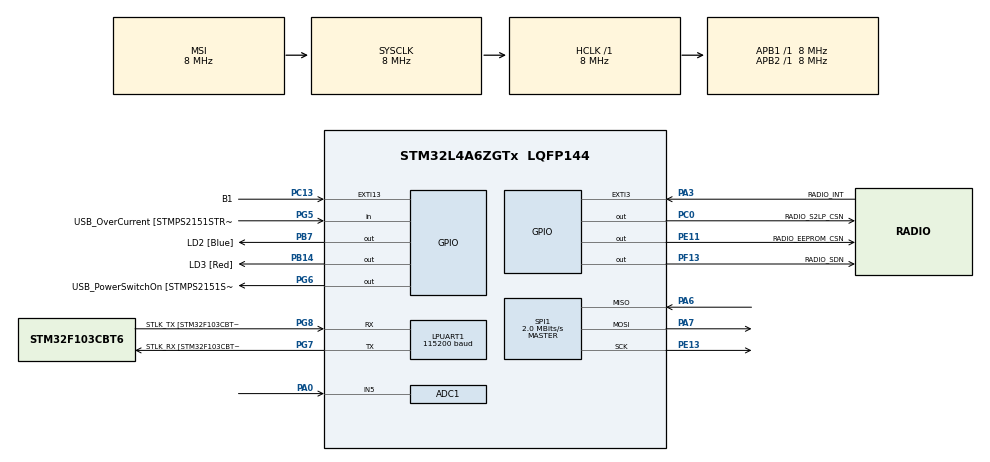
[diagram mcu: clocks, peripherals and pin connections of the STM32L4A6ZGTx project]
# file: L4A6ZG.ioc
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ADC1.Channel-0\#ChannelRegularConversion=ADC_CHANNEL_5
ADC1.ClockPrescaler=ADC_CLOCK_ASYNC_DIV10
ADC1.DMAContinuousRequests=ENABLE
ADC1.EnableAnalogWatchDog1=false
ADC1.ExternalTrigConv=ADC_EXTERNALTRIG_T3_TRGO
ADC1.NbrOfConversionFlag=1
ADC1.OffsetNumber-0\#ChannelRegularConversion=ADC_OFFSET_NONE
ADC1.Rank-0\#ChannelRegularConversion=1
ADC1.SamplingTime-0\#ChannelRegularConversion=ADC_SAMPLETIME_2CYCLES_5
ADC1.master=1
Dma.ADC1.0.Direction=DMA_PERIPH_TO_MEMORY
Dma.ADC1.0.Instance=DMA1_Channel1
Dma.ADC1.0.MemDataAlignment=DMA_MDATAALIGN_HALFWORD
Dma.ADC1.0.MemInc=DMA_MINC_ENABLE
Dma.ADC1.0.Mode=DMA_CIRCULAR
Dma.ADC1.0.PeriphDataAlignment=DMA_PDATAALIGN_HALFWORD
Dma.ADC1.0.PeriphInc=DMA_PINC_DISABLE
Dma.ADC1.0.Priority=DMA_PRIORITY_LOW
Dma.Request0=ADC1
LPUART1.AutoBaudRateEnableParam=UART_ADVFEATURE_AUTOBAUDRATE_DISABLE
LPUART1.BaudRate=115200
LPUART1.DMADisableonRxErrorParam=UART_ADVFEATURE_DMA_ENABLEONRXERROR
LPUART1.DataInvertParam=UART_ADVFEATURE_DATAINV_DISABLE
LPUART1.MSBFirstParam=UART_ADVFEATURE_MSBFIRST_DISABLE
LPUART1.Mode=UART_MODE_TX_RX
LPUART1.OneBitSampling=UART_ONE_BIT_SAMPLE_DISABLE
LPUART1.OverrunDisableParam=UART_ADVFEATURE_OVERRUN_ENABLE
LPUART1.Parity=UART_PARITY_NONE
LPUART1.RxPinLevelInvertParam=UART_ADVFEATURE_RXINV_DISABLE
LPUART1.StopBits=UART_STOPBITS_1
LPUART1.SwapParam=UART_ADVFEATURE_SWAP_DISABLE
LPUART1.TxPinLevelInvertParam=UART_ADVFEATURE_TXINV_DISABLE
LPUART1.WordLength=UART_WORDLENGTH_8B
Mcu.Family=STM32L4
Mcu.Name=STM32L4A6ZGTx
Mcu.Package=LQFP144
NVIC.DMA1_Channel1_IRQn=true\:1\:0\:true\:false\:true\:false\:true
NVIC.EXTI15_10_IRQn=true\:0\:0\:false\:false\:true\:true\:true
NVIC.EXTI3_IRQn=true\:0\:0\:false\:false\:true\:true\:true
NVIC.PriorityGroup=NVIC_PRIORITYGROUP_4
NVIC.TIM3_IRQn=true\:0\:0\:true\:false\:true\:true\:true
PA0.Signal=ADCx_IN5
PA10.GPIO_Label=USB_ID
PA10.Signal=USB_OTG_FS_ID
PA11.GPIO_Label=USB_DM
PA11.Signal=USB_OTG_FS_DM
PA12.GPIO_Label=USB_DP
PA12.Signal=USB_OTG_FS_DP
PA13\ (JTMS/SWDIO).GPIO_Label=TMS
PA13\ (JTMS/SWDIO).Mode=Trace_Asynchronous_SW
PA13\ (JTMS/SWDIO).Signal=SYS_JTMS-SWDIO
PA14\ (JTCK/SWCLK).GPIO_Label=TCK
PA14\ (JTCK/SWCLK).Mode=Trace_Asynchronous_SW
PA14\ (JTCK/SWCLK).Signal=SYS_JTCK-SWCLK
PA3.GPIO_Label=RADIO_INT
PA3.GPIO_ModeDefaultEXTI=GPIO_MODE_IT_FALLING
PA3.Signal=GPXTI3
PA6.Mode=Full_Duplex_Master
PA6.Signal=SPI1_MISO
PA7.Mode=Full_Duplex_Master
PA7.Signal=SPI1_MOSI
PA8.GPIO_Label=USB_SOF [TP1]
PA8.Signal=USB_OTG_FS_SOF
PA9.GPIO_Label=USB_VBUS
PA9.Signal=USB_OTG_FS_VBUS
PB14.GPIO_Label=LD3 [Red]
PB14.Signal=GPIO_Output
PB3\ (JTDO/TRACESWO).GPIO_Label=SWO
PB3\ (JTDO/TRACESWO).Mode=Trace_Asynchronous_SW
PB3\ (JTDO/TRACESWO).Signal=SYS_JTDO-SWO
PB7.GPIO_Label=LD2 [Blue]
PB7.Signal=GPIO_Output
PC0.GPIO_Label=RADIO_S2LP_CSN
PC0.GPIO_Speed=GPIO_SPEED_FREQ_VERY_HIGH
PC0.PinState=GPIO_PIN_SET
PC0.Signal=GPIO_Output
PC13.GPIO_Label=B1
PC13.GPIO_ModeDefaultEXTI=GPIO_MODE_IT_RISING
PC13.Signal=GPXTI13
PC14-OSC32_IN\ (PC14).Mode=LSE-External-Oscillator
PC14-OSC32_IN\ (PC14).Signal=RCC_OSC32_IN
PC15-OSC32_OUT\ (PC15).Mode=LSE-External-Oscillator
PC15-OSC32_OUT\ (PC15).Signal=RCC_OSC32_OUT
PE11.GPIO_Label=RADIO_EEPROM_CSN
PE11.PinState=GPIO_PIN_SET
PE11.Signal=GPIO_Output
PE13.Mode=Full_Duplex_Master
PE13.Signal=SPI1_SCK
PF13.GPIO_Label=RADIO_SDN
PF13.PinState=GPIO_PIN_SET
PF13.Signal=GPIO_Output
PG5.GPIO_Label=USB_OverCurrent [STMPS2151STR_FAULT]
PG5.Signal=GPIO_Input
PG6.GPIO_Label=USB_PowerSwitchOn [STMPS2151STR_EN]
PG6.Signal=GPIO_Output
PG7.GPIO_Label=STLK_RX [STM32F103CBT6_PA3]
PG7.Mode=Asynchronous
PG7.Signal=LPUART1_TX
PG8.GPIO_Label=STLK_TX [STM32F103CBT6_PA2]
PG8.Mode=Asynchronous
PG8.Signal=LPUART1_RX
PH1-OSC_OUT\ (PH1).Signal=RCC_OSC_OUT
ProjectManager.HeapSize=0x200
ProjectManager.StackSize=0x400
ProjectManager.TargetToolchain=STM32CubeIDE
RCC.ADCCLockSelection=RCC_ADCCLKSOURCE_SYSCLK
RCC.ADCFreq_Value=8000000
RCC.AHBFreq_Value=8000000
RCC.APB1Freq_Value=8000000
RCC.APB1TimFreq_Value=8000000
RCC.APB2Freq_Value=8000000
RCC.APB2TimFreq_Value=8000000
RCC.CortexFreq_Value=8000000
RCC.FLatency=FLASH_LATENCY_0
RCC.HCLKFreq_Value=8000000
RCC.HSE_VALUE=8000000
RCC.HSI48_VALUE=48000000
RCC.HSI_VALUE=16000000
RCC.LPUART1CLockSelection=RCC_LPUART1CLKSOURCE_SYSCLK
RCC.MSIClockRange=RCC_MSIRANGE_7
RCC.MSI_VALUE=8000000
RCC.PLLN=24
RCC.PLLSAI1N=24
RCC.SYSCLKFreq_VALUE=8000000
RCC.USBFreq_Value=96000000
RCC.VCOOutputFreq_Value=192000000
SH.ADCx_IN5.0=ADC1_IN5,IN5-Single-Ended
SPI1.BaudRatePrescaler=SPI_BAUDRATEPRESCALER_4
SPI1.CalculateBaudRate=2.0 MBits/s
SPI1.DataSize=SPI_DATASIZE_8BIT
SPI1.Direction=SPI_DIRECTION_2LINES
SPI1.Mode=SPI_MODE_MASTER
SPI1.VirtualType=VM_MASTER
TIM3.Period=31
TIM3.Prescaler=23
TIM3.TIM_MasterOutputTrigger=TIM_TRGO_UPDATE
VP_AES_VS_AES.Mode=AES_Activate
VP_TIM3_VS_ClockSourceINT.Mode=Internal
board=NUCLEO-L4A6ZG

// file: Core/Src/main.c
/* USER CODE BEGIN Header */
/**
/**
  ****************************************************************************
  * @file           : main.c
  * @brief          : Main program body
  ****************************************************************************
  * @attention
  *
  * <h2><center>&copy; Copyright (c) 2021 STMicroelectronics.
  * All rights reserved.</center></h2>
  *
  * This software component is licensed by ST under BSD 3-Clause license,
  * the "License"; You may not use this file except in compliance with the
  * License. You may obtain a copy of the License at:
  *                        opensource.org/licenses/BSD-3-Clause
  *
  ****************************************************************************
  */
/* USER CODE END Header */
#include "main.h"
#include "adc.h"
#include "aes.h"
#include "dma.h"
#include "spi.h"
#include "tim.h"
#include "gpio.h"

/* USER CODE BEGIN Includes */
#include <stdio.h>
#include <string.h>
#include "arm_math.h"
#include "adc_dblbuf.h"
#include "retarget.h"
#include "s2lp.h"
#include "spectrogram.h"
#include "eval_radio.h"
#include "packet.h"
#include "config.h"
#include "utils.h"
#include "usart.h"

/* USER CODE END Includes */

/* USER CODE BEGIN PV */

volatile uint8_t btn_press;
//volatile uint8_t have_to_record = 0;
/* USER CODE END PV */

void SystemClock_Config(void);

/* USER CODE BEGIN 0 */

void HAL_GPIO_EXTI_Callback(uint16_t GPIO_Pin)
{
	if (GPIO_Pin == B1_Pin) {
		btn_press = 1;
	}
	else if (GPIO_Pin == RADIO_INT_Pin)
		S2LP_IRQ_Handler();
}

/*
void HAL_ADC_LevelOutOfWindowCallback(ADC_HandleTypeDef*hadc){ //dès que signal sort threshold
	have_to_record = 1;
}
*/
static void acquire_and_send_packet() {
	if (StartADCAcq(N_MELVECS) != HAL_OK) {
		DEBUG_PRINT("Error while enabling the DMA\r\n");
	}
	while (!IsADCFinished()) {
		__WFI(); //WFE
	}
}

void run(void)
{
	btn_press = 0;

	while (1)
	{

	  while (!btn_press) {
		  /*
		  HAL_GPIO_WritePin(GPIOB, LD2_Pin, GPIO_PIN_SET);
		  HAL_Delay(200);
		  HAL_GPIO_WritePin(GPIOB, LD2_Pin, GPIO_PIN_RESET);
		  HAL_Delay(200);
		  */
		  __WFI();
	  }

	  btn_press = 0;
#if (CONTINUOUS_ACQ == 1)
	  while (!btn_press) {
		  acquire_and_send_packet();
		  //have_to_record = 0; //des que fini alors se réinitiise
	  }
	  btn_press = 0;
#elif (CONTINUOUS_ACQ == 0)
	  acquire_and_send_packet();
#else
#error "Wrong value for CONTINUOUS_ACQ."
#endif
	}
}

/* USER CODE END 0 */

int main(void)
{

  /* MCU Configuration--------------------------------------------------------*/

  /* Reset of all peripherals, Initializes the Flash interface and the Systick. */
  HAL_Init();

  /* Configure the system clock */
  SystemClock_Config();

  /* Initialize all configured peripherals */
  MX_GPIO_Init();
  MX_DMA_Init();
  MX_SPI1_Init();
  MX_TIM3_Init();
  MX_ADC1_Init();
  MX_AES_Init();
  /* USER CODE BEGIN 2 */
  if (ENABLE_UART) {
	  MX_LPUART1_UART_Init();
  }

  RetargetInit(&hlpuart1);
  DEBUG_PRINT("Hello world\r\n");

#if ENABLE_RADIO
  // Enable S2LP Radio
  HAL_StatusTypeDef err = S2LP_Init(&hspi1);
  if (err)  {
	  DEBUG_PRINT("[S2LP] Error while initializing: %u\r\n", err);
	  Error_Handler();
  } else {
	  DEBUG_PRINT("[S2LP] Init OK\r\n");
  }
#endif

  if (HAL_ADCEx_Calibration_Start(&hadc1, ADC_SINGLE_ENDED) != HAL_OK) {
	  DEBUG_PRINT("Error while calibrating the ADC\r\n");
	  Error_Handler();
  }
  if (HAL_TIM_Base_Start(&htim3) != HAL_OK) {
	  DEBUG_PRINT("Error while enabling timer TIM3\r\n");
	  Error_Handler();
  }
  /* USER CODE END 2 */

  /* Infinite loop */
  /* USER CODE BEGIN WHILE */
S2LP_Sleep();                                     //iciiiiiiiiiiiiiiiiiiiiiiiiiiiiiiiiiiiiiiiiiiiiiiiiiiiiiiiiiiiiiiiiiiiiiiiiiiiiiiiiiiiiiiii
#if (RUN_CONFIG == MAIN_APP)
  run();
#elif (RUN_CONFIG == EVAL_RADIO)
  eval_radio();
#else
#error "Wrong value for RUN_CONFIG."
#endif

    /* USER CODE END WHILE */

}

void SystemClock_Config(void)
{
  RCC_OscInitTypeDef RCC_OscInitStruct = {0};
  RCC_ClkInitTypeDef RCC_ClkInitStruct = {0};

  /** Configure the main internal regulator output voltage
  */
  if (HAL_PWREx_ControlVoltageScaling(PWR_REGULATOR_VOLTAGE_SCALE1) != HAL_OK)
  {
    Error_Handler();
  }
  /** Initializes the RCC Oscillators according to the specified parameters
  * in the RCC_OscInitTypeDef structure.
  */
  RCC_OscInitStruct.OscillatorType = RCC_OSCILLATORTYPE_MSI;
  RCC_OscInitStruct.MSIState = RCC_MSI_ON;
  RCC_OscInitStruct.MSICalibrationValue = 0;
  RCC_OscInitStruct.MSIClockRange = RCC_MSIRANGE_11;
  RCC_OscInitStruct.PLL.PLLState = RCC_PLL_NONE;
  if (HAL_RCC_OscConfig(&RCC_OscInitStruct) != HAL_OK)
  {
    Error_Handler();
  }
  /** Initializes the CPU, AHB and APB buses clocks
  */
  RCC_ClkInitStruct.ClockType = RCC_CLOCKTYPE_HCLK|RCC_CLOCKTYPE_SYSCLK
                              |RCC_CLOCKTYPE_PCLK1|RCC_CLOCKTYPE_PCLK2;
  RCC_ClkInitStruct.SYSCLKSource = RCC_SYSCLKSOURCE_MSI;
  RCC_ClkInitStruct.AHBCLKDivider = RCC_SYSCLK_DIV1;
  RCC_ClkInitStruct.APB1CLKDivider = RCC_HCLK_DIV1;
  RCC_ClkInitStruct.APB2CLKDivider = RCC_HCLK_DIV1;

  if (HAL_RCC_ClockConfig(&RCC_ClkInitStruct, FLASH_LATENCY_2) != HAL_OK)
  {
    Error_Handler();
  }
}

void Error_Handler(void)
{
  /* USER CODE BEGIN Error_Handler_Debug */
  __disable_irq();
  DEBUG_PRINT("Entering error Handler\r\n");
  while (1)
  {
	  // Blink LED3 (red)
	  HAL_GPIO_WritePin(GPIOB, LD3_Pin, GPIO_PIN_SET);
	  for (volatile int i=0; i < SystemCoreClock/200; i++);
	  HAL_GPIO_WritePin(GPIOB, LD3_Pin, GPIO_PIN_RESET);
	  for (volatile int i=0; i < SystemCoreClock/200; i++);
  }
  /* USER CODE END Error_Handler_Debug */
}

#ifdef  USE_FULL_ASSERT
/**
  * @brief  Reports the name of the source file and the source line number
  *         where the assert_param error has occurred.
  * @param  file: pointer to the source file name
  * @param  line: assert_param error line source number
  * @retval None
  */
void assert_failed(uint8_t *file, uint32_t line)
{
  /* USER CODE BEGIN 6 */
  /* User can add his own implementation to report the file name and line number,
     ex: DEBUG_PRINT("Wrong parameters value: file %s on line %d\r\n", file, line) */
  /* USER CODE END 6 */
}
#endif /* USE_FULL_ASSERT */

/************************ (C) COPYRIGHT STMicroelectronics *****END OF FILE****/
